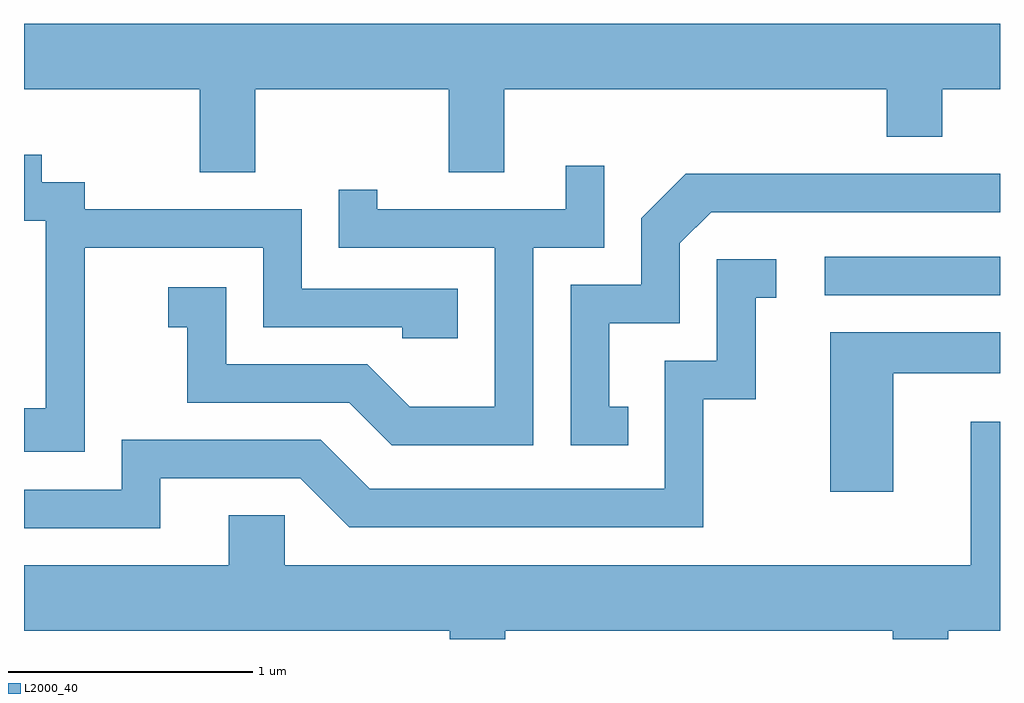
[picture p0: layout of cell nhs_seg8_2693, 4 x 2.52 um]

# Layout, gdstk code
import gdstk
lib = gdstk.Library(unit=1e-6, precision=1e-09)
def R(c, l, rs):  # rectangles x0, y0, x1, y1
    for r in rs: c.add(gdstk.rectangle(r[:2], r[2:], *l))
def P(c, l, *ps):  # polygons
    for p in ps: c.add(gdstk.Polygon(p, *l))
L2000_40 = (2000, 40)

nhs_seg8_2693 = lib.new_cell('nhs_seg8_2693')
R(nhs_seg8_2693, L2000_40, [(268.893,1877.751,269.611,1877.909)])
P(nhs_seg8_2693, L2000_40, [(266.559,1878.596),(267.351,1878.596),(267.351,1878.256),(267.579,1878.256),(267.579,1878.596),(269.146,1878.596),(269.146,1878.401),(269.374,1878.401),(269.374,1878.596),(269.611,1878.596),(269.611,1878.864),(265.611,1878.864),(265.611,1878.596),(266.331,1878.596),(266.331,1878.256),(266.559,1878.256)],
  [(265.859,1877.946),(266.591,1877.946),(266.591,1877.621),(267.161,1877.621),(267.161,1877.576),(267.389,1877.576),(267.389,1877.779),(266.749,1877.779),(266.749,1878.104),(265.859,1878.104),(265.859,1878.214),(265.684,1878.214),(265.684,1878.328),(265.611,1878.328),(265.611,1878.056),(265.701,1878.056),(265.701,1877.289),(265.611,1877.289),(265.611,1877.111),(265.859,1877.111)],
  [(267.699,1877.946),(267.989,1877.946),(267.989,1878.283),(267.831,1878.283),(267.831,1878.104),(267.059,1878.104),(267.059,1878.183),(266.901,1878.183),(266.901,1877.946),(267.541,1877.946),(267.541,1877.294),(267.192,1877.294),(267.017,1877.469),(266.439,1877.469),(266.439,1877.784),(266.203,1877.784),(266.203,1877.621),(266.281,1877.621),(266.281,1877.311),(266.944,1877.311),(267.119,1877.136),(267.699,1877.136)],
  [(268.088,1877.294),(268.009,1877.294),(268.009,1877.636),(268.299,1877.636),(268.299,1877.964),(268.427,1878.091),(269.611,1878.091),(269.611,1878.249),(268.324,1878.249),(268.141,1878.067),(268.141,1877.794),(267.851,1877.794),(267.851,1877.136),(268.088,1877.136)],
  [(266.169,1877.001),(266.744,1877.001),(266.944,1876.801),(268.394,1876.801),(268.394,1877.326),(268.609,1877.326),(268.609,1877.741),(268.693,1877.741),(268.693,1877.899),(268.451,1877.899),(268.451,1877.484),(268.236,1877.484),(268.236,1876.959),(267.027,1876.959),(266.827,1877.159),(266.011,1877.159),(266.011,1876.954),(265.611,1876.954),(265.611,1876.796),(266.169,1876.796)],
  [(269.174,1877.431),(269.611,1877.431),(269.611,1877.599),(268.916,1877.599),(268.916,1876.946),(269.174,1876.946)],
  [(267.584,1876.376),(269.171,1876.376),(269.171,1876.342),(269.399,1876.342),(269.399,1876.376),(269.611,1876.376),(269.611,1877.234),(269.491,1877.234),(269.491,1876.644),(266.679,1876.644),(266.679,1876.849),(266.451,1876.849),(266.451,1876.644),(265.611,1876.644),(265.611,1876.376),(267.356,1876.376),(267.356,1876.342),(267.584,1876.342)])

lib.write_gds('nhs_seg8_2693.gds')
